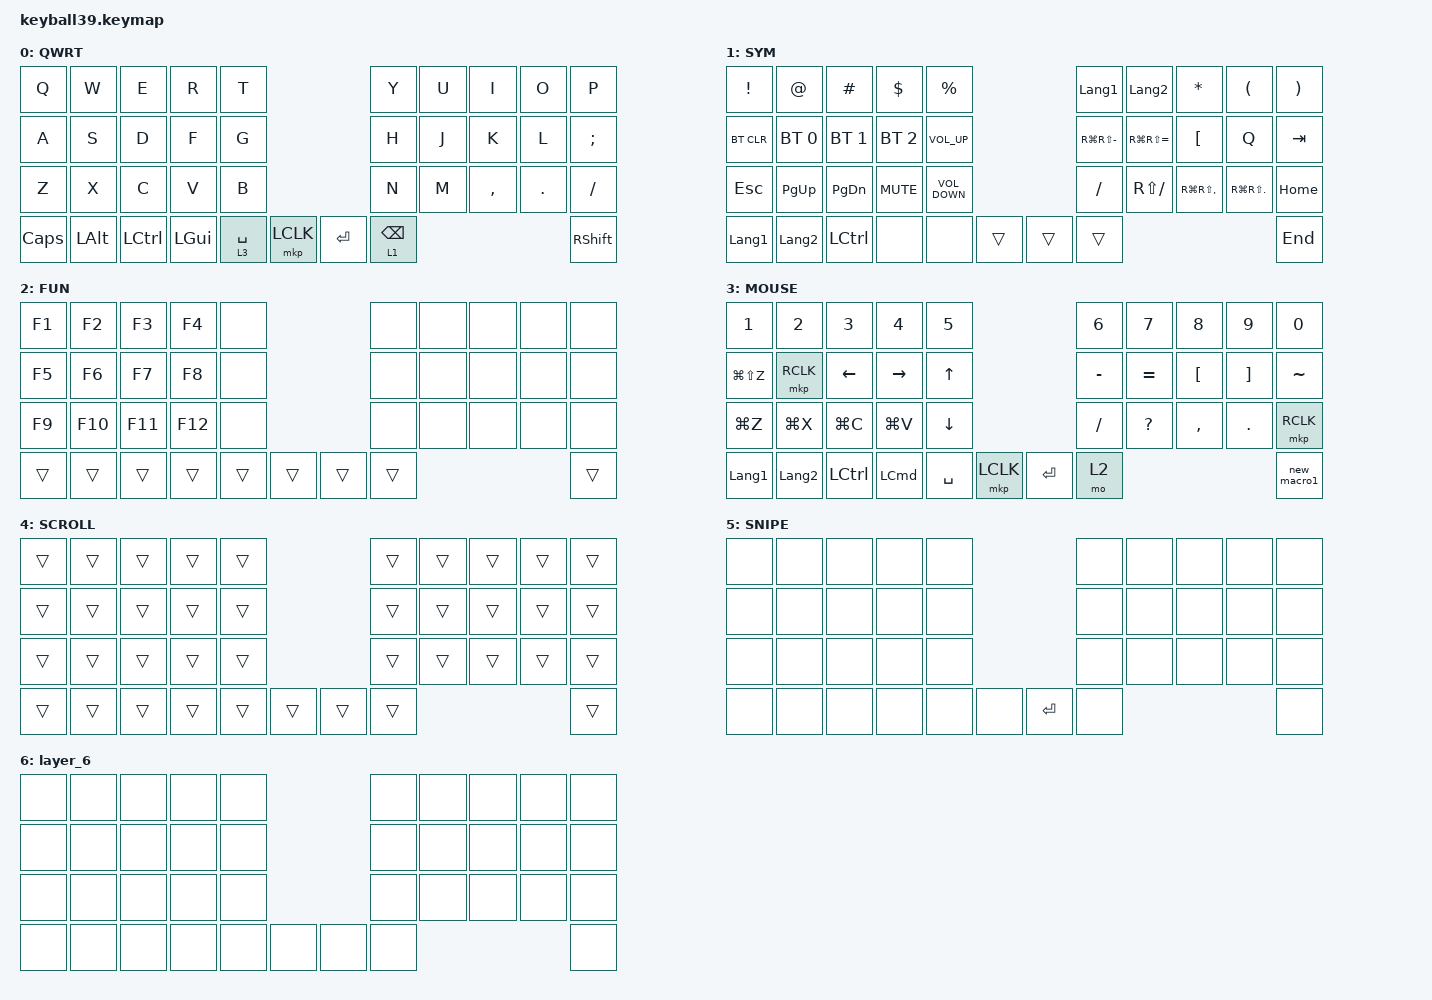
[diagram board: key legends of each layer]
#define DEFAULT 0
#define NUM     1
#define SYM     2
#define FUN     3
#define MOUSE   4
#define SCROLL  5
#define SNIPE   6

#include <behaviors/mouse_keys.dtsi>
#include <behaviors.dtsi>
#include <dt-bindings/zmk/bt.h>
#include <dt-bindings/zmk/keys.h>
#include <dt-bindings/zmk/mouse.h>

&lt {
    tapping-term-ms = <240>;
    flavor = "balanced";
    quick-tap-ms = <150>;
};

&mt {
    tapping-term-ms = <200>;
    flavor = "tap-preferred";
    quick-tap-ms = <150>;
};

&caps_word { continue-list = <UNDERSCORE MINUS>; };

/ {
    // custom shift using mod-morph 

    behaviors {
        cmqus: comma_question {
            compatible = "zmk,behavior-mod-morph";
            label = "COMMA_QUESTION";
            #binding-cells = <0>;
            bindings = <&kp COMMA>, <&kp QUESTION>;

            mods = <(MOD_LSFT|MOD_RSFT)>;
        };

        dtsmi: dot_semi {
            compatible = "zmk,behavior-mod-morph";
            label = "DOT_SEMI";
            #binding-cells = <0>;
            bindings = <&kp DOT>, <&kp SEMI>;

            mods = <(MOD_LSFT|MOD_RSFT)>;
        };
    };

    macros {
        new_macro1: new_macro1 {
            compatible = "zmk,behavior-macro";
            #binding-cells = <0>;
            bindings = <&kp NUMBER_1 &kp NUMBER_1 &kp NUMBER_1 &kp NUMBER_1 &kp ENTER>;
            label = "NEW_MACRO1";
        };

        new_macromail: new_macro {
            compatible = "zmk,behavior-macro";
            #binding-cells = <0>;
            bindings = <&kp M &kp U &kp N &kp E &kp H &kp O &kp N &kp E &kp AT_SIGN &kp M &kp A &kp C &kp PERIOD &kp C &kp O &kp M>;
            label = "NEW_MACRO";
        };
    };

    combos {
        compatible = "zmk,combos";

        lay6 {
            bindings = <&none>;
            key-positions = <0 9>;
            layers = <6>;
        };

        lay1 {
            bindings = <&none>;
            key-positions = <10 19>;
            layers = <0>;
        };
    };

    keymap {
        compatible = "zmk,keymap";

        default_layer {
            label = "QWRT";
            bindings = <
&kp Q     &kp W     &kp E             &kp R     &kp T                              &kp Y            &kp U  &kp I      &kp O    &kp P
&kp A     &kp S     &kp D             &kp F     &kp G                              &kp H            &kp J  &kp K      &kp L    &kp SEMI
&kp Z     &kp X     &kp C             &kp V     &kp B                              &kp N            &kp M  &kp COMMA  &kp DOT  &kp SLASH
&kp CLCK  &kp LALT  &kp LEFT_CONTROL  &kp LGUI  &lt 3 SPACE  &mkp LCLK  &kp ENTER  &lt 1 BACKSPACE                             &kp RSHFT
            >;
        };

        symbol_layer {
            label = "SYM";
            bindings = <
&kp EXCLAMATION  &kp AT_SIGN     &kp HASH       &kp DOLLAR    &kp PERCENT                        &kp LANGUAGE_1     &kp LANGUAGE_2     &kp ASTERISK       &kp LEFT_PARENTHESIS  &kp RIGHT_PARENTHESIS
&bt BT_CLR       &bt BT_SEL 0    &bt BT_SEL 1   &bt BT_SEL 2  &kp C_VOLUME_UP                    &kp RG(RS(MINUS))  &kp RG(RS(EQUAL))  &kp LEFT_BRACKET   &kp Q                 &kp TAB
&kp ESC          &kp PAGE_UP     &kp PAGE_DOWN  &kp K_MUTE    &kp C_VOLUME_DOWN                  &kp SLASH          &kp RS(SLASH)      &kp RG(RS(COMMA))  &kp RG(RS(PERIOD))    &kp HOME
&kp LANGUAGE_1   &kp LANGUAGE_2  &kp LCTRL      &none         &none              &trans  &trans  &trans                                                                         &kp END
            >;
        };

        function_layer {
            label = "FUN";
            bindings = <
&kp F1  &kp F2   &kp F3   &kp F4   &none                   &none   &none  &none  &none  &none
&kp F5  &kp F6   &kp F7   &kp F8   &none                   &none   &none  &none  &none  &none
&kp F9  &kp F10  &kp F11  &kp F12  &none                   &none   &none  &none  &none  &none
&trans  &trans   &trans   &trans   &trans  &trans  &trans  &trans                       &trans
            >;
        };

        mouse_layer {
            label = "MOUSE";
            bindings = <
&kp N1          &kp N2          &kp N3          &kp NUMBER_4     &kp N5                              &kp N6     &kp N7        &kp N8            &kp N9             &kp N0
&kp LG(LS(Z))   &mkp RCLK       &kp LEFT_ARROW  &kp RIGHT_ARROW  &kp UP_ARROW                        &kp MINUS  &kp EQUAL     &kp LEFT_BRACKET  &kp RIGHT_BRACKET  &kp TILDE
&kp LG(Z)       &kp LG(X)       &kp LG(C)       &kp LG(V)        &kp DOWN                            &kp SLASH  &kp QUESTION  &kp COMMA         &kp PERIOD         &mkp RCLK
&kp LANGUAGE_1  &kp LANGUAGE_2  &kp LCTRL       &kp LCMD         &kp SPACE     &mkp LCLK  &kp ENTER  &mo 2                                                         &new_macro1
            >;
        };

        scroll_layer {
            label = "SCROLL";
            bindings = <
&trans  &trans  &trans  &trans  &trans                  &trans  &trans  &trans  &trans  &trans
&trans  &trans  &trans  &trans  &trans                  &trans  &trans  &trans  &trans  &trans
&trans  &trans  &trans  &trans  &trans                  &trans  &trans  &trans  &trans  &trans
&trans  &trans  &trans  &trans  &trans  &trans  &trans  &trans                          &trans
            >;
        };

        snipe_layer {
            label = "SNIPE";
            bindings = <
&none  &none  &none  &none  &none                    &none  &none  &none  &none  &none
&none  &none  &none  &none  &none                    &none  &none  &none  &none  &none
&none  &none  &none  &none  &none                    &none  &none  &none  &none  &none
&none  &none  &none  &none  &none  &none  &kp ENTER  &none                       &none
            >;
        };

        layer_6 {
            bindings = <
&none  &none  &none  &none  &none                &none  &none  &none  &none  &none
&none  &none  &none  &none  &none                &none  &none  &none  &none  &none
&none  &none  &none  &none  &none                &none  &none  &none  &none  &none
&none  &none  &none  &none  &none  &none  &none  &none                       &none
            >;
        };
    };

    conditional_layers {
        compatible = "zmk,conditional-layers";

        neron101 {
            if-layers = <0>;
            then-layer = <0>;
        };
    };
};
